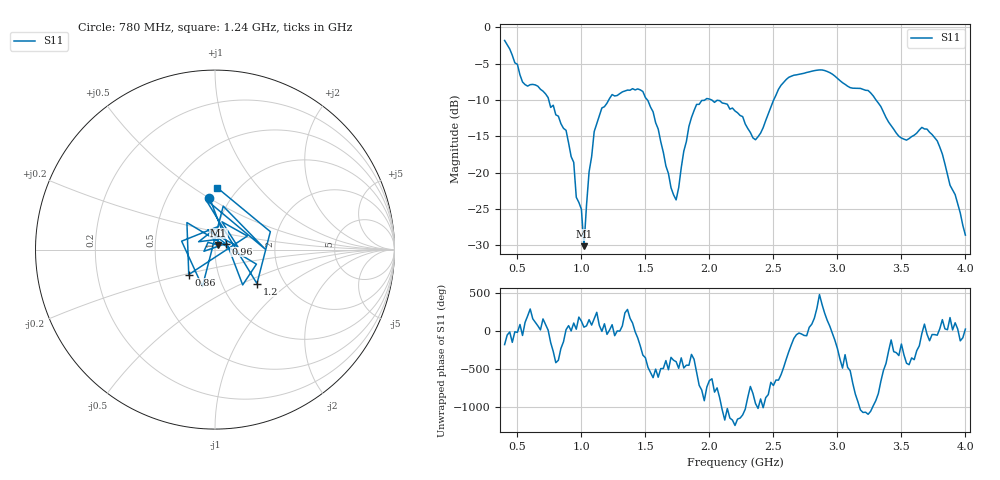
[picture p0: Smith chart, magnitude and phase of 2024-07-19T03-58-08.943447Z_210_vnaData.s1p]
!Created with skrf (http://scikit-rf.org).
# Hz S RI R 50.0
!freq ReS11 ImS11
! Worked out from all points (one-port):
!   181 points, 400 MHz to 4 GHz, reference 50 ohm
!   lowest |S11| = -30.1 dB at 1.02 GHz (marker M1), VSWR 1.06, Z = 51.7 + j2.65 ohm
!   |S11| at or under -10 dB: 744.9 MHz to 1.213 GHz (468.4 MHz wide, 47.8 % of centre); 2.018 GHz to 2.502 GHz (483.8 MHz wide, 21.4 % of centre); 3.302 GHz to end of sweep (the widest 3 of 4)
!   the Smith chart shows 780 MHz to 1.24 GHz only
!   S11 on the Smith chart (normalised r, x): 780 MHz: 0.80, +0.51; 860 MHz: 0.72, -0.21; 960 MHz: 1.12, +0.07; 1.2 GHz: 1.46, -0.61; 1.24 GHz: 0.81, +0.63
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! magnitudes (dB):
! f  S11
! 400 MHz  -1.8
! 540 MHz  -7.5
! 780 MHz  -10.7
! 860 MHz  -13.9
! 940 MHz  -18.6
! 960 MHz  -23.4
! 1 GHz  -25.1
! 1.02 GHz  -30.1
! 1.06 GHz  -19.9
! 1.1 GHz  -14.3
! 1.2 GHz  -10.4
! 1.24 GHz  -9.2
! 1.3 GHz  -9.1
! 1.48 GHz  -8.8
! 1.6 GHz  -14.0
! 1.72 GHz  -23.1
! 1.76 GHz  -22.1
! 1.84 GHz  -13.6
! 1.9 GHz  -10.6
! 2.2 GHz  -11.5
! 2.36 GHz  -15.5
! 2.66 GHz  -6.6
! 3.1 GHz  -8.3
! 3.24 GHz  -8.7
! 3.56 GHz  -15.3
! 3.66 GHz  -13.8
! 3.78 GHz  -15.6
! 4 GHz  -28.6
